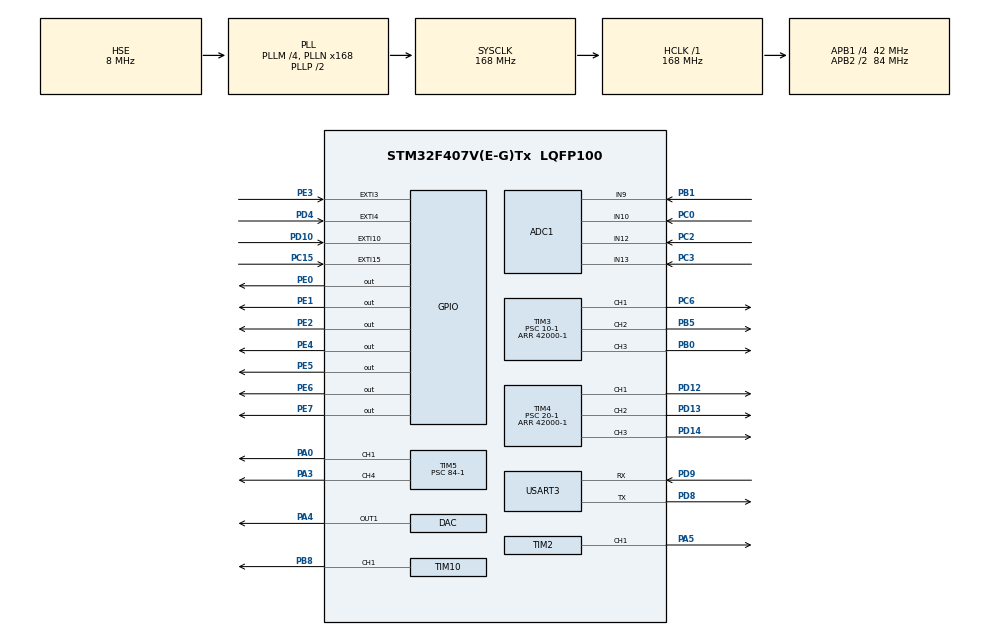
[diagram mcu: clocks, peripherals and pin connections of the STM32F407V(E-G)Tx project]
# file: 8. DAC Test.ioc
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ADC1.Channel-0\#ChannelRegularConversion=ADC_CHANNEL_10
ADC1.Channel-1\#ChannelRegularConversion=ADC_CHANNEL_12
ADC1.Channel-2\#ChannelRegularConversion=ADC_CHANNEL_13
ADC1.Channel-3\#ChannelRegularConversion=ADC_CHANNEL_9
ADC1.ContinuousConvMode=ENABLE
ADC1.DMAContinuousRequests=ENABLE
ADC1.NbrOfConversion=4
ADC1.NbrOfConversionFlag=1
ADC1.Rank-0\#ChannelRegularConversion=1
ADC1.Rank-1\#ChannelRegularConversion=2
ADC1.Rank-2\#ChannelRegularConversion=3
ADC1.Rank-3\#ChannelRegularConversion=4
ADC1.SamplingTime-0\#ChannelRegularConversion=ADC_SAMPLETIME_84CYCLES
ADC1.SamplingTime-1\#ChannelRegularConversion=ADC_SAMPLETIME_84CYCLES
ADC1.SamplingTime-2\#ChannelRegularConversion=ADC_SAMPLETIME_84CYCLES
ADC1.SamplingTime-3\#ChannelRegularConversion=ADC_SAMPLETIME_84CYCLES
ADC1.ScanConvMode=ENABLE
ADC1.master=1
Dma.ADC1.0.Direction=DMA_PERIPH_TO_MEMORY
Dma.ADC1.0.FIFOMode=DMA_FIFOMODE_DISABLE
Dma.ADC1.0.Instance=DMA2_Stream0
Dma.ADC1.0.MemDataAlignment=DMA_MDATAALIGN_HALFWORD
Dma.ADC1.0.MemInc=DMA_MINC_ENABLE
Dma.ADC1.0.Mode=DMA_CIRCULAR
Dma.ADC1.0.PeriphDataAlignment=DMA_PDATAALIGN_HALFWORD
Dma.ADC1.0.PeriphInc=DMA_PINC_DISABLE
Dma.ADC1.0.Priority=DMA_PRIORITY_LOW
Dma.Request0=ADC1
Mcu.Family=STM32F4
Mcu.Name=STM32F407V(E-G)Tx
Mcu.Package=LQFP100
NVIC.DMA2_Stream0_IRQn=true\:0\:0\:false\:false\:true\:false
NVIC.EXTI15_10_IRQn=true\:0\:0\:false\:true\:true\:5\:true
NVIC.EXTI3_IRQn=true\:0\:0\:false\:true\:true\:3\:true
NVIC.EXTI4_IRQn=true\:0\:0\:false\:true\:true\:4\:true
NVIC.PriorityGroup=NVIC_PRIORITYGROUP_4
NVIC.TIM7_IRQn=true\:0\:0\:false\:true\:true\:2\:true
NVIC.USART3_IRQn=true\:0\:0\:false\:true\:true\:1\:true
PA0-WKUP.Signal=S_TIM5_CH1
PA3.Signal=S_TIM5_CH4
PA4.Signal=COMP_DAC1_group
PA5.Signal=S_TIM2_CH1_ETR
PB0.Signal=S_TIM3_CH3
PB1.Signal=ADCx_IN9
PB5.Signal=S_TIM3_CH2
PB8.Signal=S_TIM10_CH1
PC0.Signal=ADCx_IN10
PC15-OSC32_OUT.GPIO_ModeDefaultEXTI=GPIO_MODE_IT_RISING
PC15-OSC32_OUT.Signal=GPXTI15
PC2.Signal=ADCx_IN12
PC3.Signal=ADCx_IN13
PC6.Signal=S_TIM3_CH1
PD10.Signal=GPXTI10
PD12.Signal=S_TIM4_CH1
PD13.Signal=S_TIM4_CH2
PD14.Signal=S_TIM4_CH3
PD4.Signal=GPXTI4
PD8.Mode=Asynchronous
PD8.Signal=USART3_TX
PD9.Mode=Asynchronous
PD9.Signal=USART3_RX
PE0.Signal=GPIO_Output
PE1.Signal=GPIO_Output
PE2.Signal=GPIO_Output
PE3.Signal=GPXTI3
PE4.Signal=GPIO_Output
PE5.Signal=GPIO_Output
PE6.Signal=GPIO_Output
PE7.Signal=GPIO_Output
PH0-OSC_IN.Mode=HSE-External-Oscillator
PH0-OSC_IN.Signal=RCC_OSC_IN
PH1-OSC_OUT.Mode=HSE-External-Oscillator
PH1-OSC_OUT.Signal=RCC_OSC_OUT
ProjectManager.HeapSize=0x200
ProjectManager.StackSize=0x400
ProjectManager.TargetToolchain=TrueSTUDIO
RCC.48MHZClocksFreq_Value=84000000
RCC.AHBFreq_Value=168000000
RCC.APB1CLKDivider=RCC_HCLK_DIV4
RCC.APB1Freq_Value=42000000
RCC.APB1TimFreq_Value=84000000
RCC.APB2CLKDivider=RCC_HCLK_DIV2
RCC.APB2Freq_Value=84000000
RCC.APB2TimFreq_Value=168000000
RCC.CortexFreq_Value=168000000
RCC.HCLKFreq_Value=168000000
RCC.HSE_VALUE=8000000
RCC.HSI_VALUE=16000000
RCC.LSE_VALUE=32768
RCC.PLLM=4
RCC.PLLN=168
RCC.PLLSourceVirtual=RCC_PLLSOURCE_HSE
RCC.SYSCLKFreq_VALUE=168000000
RCC.SYSCLKSource=RCC_SYSCLKSOURCE_PLLCLK
RCC.VCOOutputFreq_Value=336000000
SH.ADCx_IN10.0=ADC1_IN10,IN10
SH.ADCx_IN12.0=ADC1_IN12,IN12
SH.ADCx_IN13.0=ADC1_IN13,IN13
SH.ADCx_IN9.0=ADC1_IN9,IN9
SH.COMP_DAC1_group.0=DAC_OUT1,DAC_OUT1
SH.S_TIM10_CH1.0=TIM10_CH1,PWM Generation1 CH1
SH.S_TIM2_CH1_ETR.0=TIM2_CH1,PWM Generation1 CH1
SH.S_TIM3_CH1.0=TIM3_CH1,PWM Generation1 CH1
SH.S_TIM3_CH2.0=TIM3_CH2,PWM Generation2 CH2
SH.S_TIM3_CH3.0=TIM3_CH3,PWM Generation3 CH3
SH.S_TIM4_CH1.0=TIM4_CH1,PWM Generation1 CH1
SH.S_TIM4_CH2.0=TIM4_CH2,PWM Generation2 CH2
SH.S_TIM4_CH3.0=TIM4_CH3,PWM Generation3 CH3
SH.S_TIM5_CH1.0=TIM5_CH1,PWM Generation1 CH1
SH.S_TIM5_CH4.0=TIM5_CH4,PWM Generation4 CH4
TIM10.Channel=TIM_CHANNEL_1
TIM10.Period=10000-1
TIM10.Prescaler=336-1
TIM10.Pulse=100
TIM2.Channel-PWM\ Generation1\ CH1=TIM_CHANNEL_1
TIM2.Period=168-1
TIM2.Prescaler=1000-1
TIM2.Pulse-PWM\ Generation1\ CH1=84
TIM3.Channel-PWM\ Generation1\ CH1=TIM_CHANNEL_1
TIM3.Channel-PWM\ Generation2\ CH2=TIM_CHANNEL_2
TIM3.Channel-PWM\ Generation3\ CH3=TIM_CHANNEL_3
TIM3.Period=42000-1
TIM3.Prescaler=10-1
TIM3.Pulse-PWM\ Generation1\ CH1=21000-1
TIM3.Pulse-PWM\ Generation2\ CH2=10500-1
TIM3.Pulse-PWM\ Generation3\ CH3=5250-1
TIM4.Channel-PWM\ Generation1\ CH1=TIM_CHANNEL_1
TIM4.Channel-PWM\ Generation2\ CH2=TIM_CHANNEL_2
TIM4.Channel-PWM\ Generation3\ CH3=TIM_CHANNEL_3
TIM4.Period=42000-1
TIM4.Prescaler=20-1
TIM4.Pulse-PWM\ Generation1\ CH1=21000-1
TIM4.Pulse-PWM\ Generation2\ CH2=10500-1
TIM4.Pulse-PWM\ Generation3\ CH3=5250-1
TIM5.Channel-PWM\ Generation1\ CH1=TIM_CHANNEL_1
TIM5.Channel-PWM\ Generation4\ CH4=TIM_CHANNEL_4
TIM5.Period=10000-1
TIM5.Prescaler=84-1
TIM5.Pulse-PWM\ Generation1\ CH1=5000
TIM7.Period=8399
TIM7.Prescaler=9999
USART3.VirtualMode=VM_ASYNC
VP_TIM10_VS_ClockSourceINT.Mode=Enable_Timer
VP_TIM2_VS_ClockSourceINT.Mode=Internal
VP_TIM3_VS_ClockSourceINT.Mode=Internal
VP_TIM4_VS_ClockSourceINT.Mode=Internal
VP_TIM5_VS_ClockSourceINT.Mode=Internal
VP_TIM7_VS_ClockSourceINT.Mode=Enable_Timer
board=custom

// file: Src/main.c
/**
  ******************************************************************************
  * @file           : main.c
  * @brief          : Main program body
  ******************************************************************************
  ** This notice applies to any and all portions of this file
  * that are not between comment pairs USER CODE BEGIN and
  * USER CODE END. Other portions of this file, whether
  * inserted by the user or by software development tools
  * are owned by their respective copyright owners.
  *
  * COPYRIGHT(c) 2018 STMicroelectronics
  *
  * Redistribution and use in source and binary forms, with or without modification,
  * are permitted provided that the following conditions are met:
  *   1. Redistributions of source code must retain the above copyright notice,
  *      this list of conditions and the following disclaimer.
  *   2. Redistributions in binary form must reproduce the above copyright notice,
  *      this list of conditions and the following disclaimer in the documentation
  *      and/or other materials provided with the distribution.
  *   3. Neither the name of STMicroelectronics nor the names of its contributors
  *      may be used to endorse or promote products derived from this software
  *      without specific prior written permission.
  *
  * THIS SOFTWARE IS PROVIDED BY THE COPYRIGHT HOLDERS AND CONTRIBUTORS "AS IS"
  * AND ANY EXPRESS OR IMPLIED WARRANTIES, INCLUDING, BUT NOT LIMITED TO, THE
  * IMPLIED WARRANTIES OF MERCHANTABILITY AND FITNESS FOR A PARTICULAR PURPOSE ARE
  * DISCLAIMED. IN NO EVENT SHALL THE COPYRIGHT HOLDER OR CONTRIBUTORS BE LIABLE
  * FOR ANY DIRECT, INDIRECT, INCIDENTAL, SPECIAL, EXEMPLARY, OR CONSEQUENTIAL
  * DAMAGES (INCLUDING, BUT NOT LIMITED TO, PROCUREMENT OF SUBSTITUTE GOODS OR
  * SERVICES; LOSS OF USE, DATA, OR PROFITS; OR BUSINESS INTERRUPTION) HOWEVER
  * CAUSED AND ON ANY THEORY OF LIABILITY, WHETHER IN CONTRACT, STRICT LIABILITY,
  * OR TORT (INCLUDING NEGLIGENCE OR OTHERWISE) ARISING IN ANY WAY OUT OF THE USE
  * OF THIS SOFTWARE, EVEN IF ADVISED OF THE POSSIBILITY OF SUCH DAMAGE.
  *
  ******************************************************************************
  */
#include "main.h"
#include "stm32f4xx_hal.h"
#include "adc.h"
#include "dac.h"
#include "dma.h"
#include "tim.h"
#include "usart.h"
#include "gpio.h"

/* USER CODE BEGIN Includes */
#include "CLCD.h"
#include <stdio.h>
#include "7SEG.h"
#include <math.h>
/* USER CODE END Includes */

/* USER CODE BEGIN PV */
/* Private variables ---------------------------------------------------------*/
uint8_t rx3_data;
/* USER CODE END PV */

void SystemClock_Config(void);
static void MX_NVIC_Init(void);

/* USER CODE BEGIN PFP */
/* Private function prototypes -----------------------------------------------*/
int _write(int file, char* p, int len)
{
	HAL_UART_Transmit(&huart3, p, len, 10);
	return len;
}
/* USER CODE END PFP */

int main(void)
{
  /* USER CODE BEGIN 1 */
	volatile uint16_t adcval[4];
  /* USER CODE END 1 */

  /* MCU Configuration----------------------------------------------------------*/

  /* Reset of all peripherals, Initializes the Flash interface and the Systick. */
  HAL_Init();

  /* Configure the system clock */
  SystemClock_Config();

  /* Initialize all configured peripherals */
  MX_GPIO_Init();
  MX_DMA_Init();
  MX_USART3_UART_Init();
  MX_TIM7_Init();
  MX_TIM3_Init();
  MX_TIM4_Init();
  MX_TIM10_Init();
  MX_TIM2_Init();
  MX_TIM5_Init();
  MX_ADC1_Init();
  MX_DAC_Init();

  /* Initialize interrupts */
  MX_NVIC_Init();
  /* USER CODE BEGIN 2 */
	HAL_GPIO_WritePin(GPIOC, GPIO_PIN_6, GPIO_PIN_SET);
	HAL_GPIO_WritePin(GPIOB, GPIO_PIN_0, GPIO_PIN_SET);
	HAL_GPIO_WritePin(GPIOB, GPIO_PIN_5, GPIO_PIN_SET);

	HAL_GPIO_WritePin(GPIOD, GPIO_PIN_12, GPIO_PIN_SET);
	HAL_GPIO_WritePin(GPIOD, GPIO_PIN_13, GPIO_PIN_SET);
	HAL_GPIO_WritePin(GPIOD, GPIO_PIN_14, GPIO_PIN_SET);

	HAL_UART_Receive_IT(&huart3, &rx3_data, 1);
	HAL_TIM_Base_Start_IT(&htim7);

	CLCD_GPIO_Init();
	CLCD_Init();
	CLCD_Puts(0, 0, "Welcome to");
	CLCD_Puts(0, 1, "M-HIVE");
	CLCD_Clear();

	_7SEG_GPIO_Init();

	HAL_TIM_PWM_Start(&htim3, TIM_CHANNEL_1);
	HAL_TIM_PWM_Start(&htim3, TIM_CHANNEL_2);
	HAL_TIM_PWM_Start(&htim3, TIM_CHANNEL_3);

	HAL_TIM_PWM_Start(&htim4, TIM_CHANNEL_1);
	HAL_TIM_PWM_Start(&htim4, TIM_CHANNEL_2);
	HAL_TIM_PWM_Start(&htim4, TIM_CHANNEL_3);

	HAL_TIM_PWM_Start(&htim10, TIM_CHANNEL_1);

	//HAL_TIM_PWM_Start(&htim2, TIM_CHANNEL_1);

	HAL_TIM_PWM_Start(&htim5, TIM_CHANNEL_1);
	HAL_TIM_PWM_Start(&htim5, TIM_CHANNEL_4);

	HAL_ADC_Start_DMA(&hadc1, &adcval[0], 4);
	HAL_DAC_Start(&hdac, DAC_CHANNEL_1);

	TIM10->CCR1 = 1500;

	TIM5->CCR1 = 0;
	TIM5->CCR4 = 5000;
  /* USER CODE END 2 */

  /* Infinite loop */
  /* USER CODE BEGIN WHILE */
	uint8_t a = 0;
	float f = 1.234;
	uint8_t str[20];
	uint16_t ccr = 0;
	uint16_t psc = 1000;
	uint8_t ud_flag = 0;
	uint16_t dacval = 0;
  while (1)
  {

  /* USER CODE END WHILE */

  }

}

void SystemClock_Config(void)
{

  RCC_OscInitTypeDef RCC_OscInitStruct;
  RCC_ClkInitTypeDef RCC_ClkInitStruct;

    /**Configure the main internal regulator output voltage
    */
  __HAL_RCC_PWR_CLK_ENABLE();

  __HAL_PWR_VOLTAGESCALING_CONFIG(PWR_REGULATOR_VOLTAGE_SCALE1);

    /**Initializes the CPU, AHB and APB busses clocks
    */
  RCC_OscInitStruct.OscillatorType = RCC_OSCILLATORTYPE_HSE;
  RCC_OscInitStruct.HSEState = RCC_HSE_ON;
  RCC_OscInitStruct.PLL.PLLState = RCC_PLL_ON;
  RCC_OscInitStruct.PLL.PLLSource = RCC_PLLSOURCE_HSE;
  RCC_OscInitStruct.PLL.PLLM = 4;
  RCC_OscInitStruct.PLL.PLLN = 168;
  RCC_OscInitStruct.PLL.PLLP = RCC_PLLP_DIV2;
  RCC_OscInitStruct.PLL.PLLQ = 4;
  if (HAL_RCC_OscConfig(&RCC_OscInitStruct) != HAL_OK)
  {
    _Error_Handler(__FILE__, __LINE__);
  }

    /**Initializes the CPU, AHB and APB busses clocks
    */
  RCC_ClkInitStruct.ClockType = RCC_CLOCKTYPE_HCLK|RCC_CLOCKTYPE_SYSCLK
                              |RCC_CLOCKTYPE_PCLK1|RCC_CLOCKTYPE_PCLK2;
  RCC_ClkInitStruct.SYSCLKSource = RCC_SYSCLKSOURCE_PLLCLK;
  RCC_ClkInitStruct.AHBCLKDivider = RCC_SYSCLK_DIV1;
  RCC_ClkInitStruct.APB1CLKDivider = RCC_HCLK_DIV4;
  RCC_ClkInitStruct.APB2CLKDivider = RCC_HCLK_DIV2;

  if (HAL_RCC_ClockConfig(&RCC_ClkInitStruct, FLASH_LATENCY_5) != HAL_OK)
  {
    _Error_Handler(__FILE__, __LINE__);
  }

    /**Configure the Systick interrupt time
    */
  HAL_SYSTICK_Config(HAL_RCC_GetHCLKFreq()/1000);

    /**Configure the Systick
    */
  HAL_SYSTICK_CLKSourceConfig(SYSTICK_CLKSOURCE_HCLK);

  /* SysTick_IRQn interrupt configuration */
  HAL_NVIC_SetPriority(SysTick_IRQn, 0, 0);
}

/**
  * @brief NVIC Configuration.
  * @retval None
  */
static void MX_NVIC_Init(void)
{
  /* USART3_IRQn interrupt configuration */
  HAL_NVIC_SetPriority(USART3_IRQn, 0, 0);
  HAL_NVIC_EnableIRQ(USART3_IRQn);
  /* TIM7_IRQn interrupt configuration */
  HAL_NVIC_SetPriority(TIM7_IRQn, 0, 0);
  HAL_NVIC_EnableIRQ(TIM7_IRQn);
  /* EXTI3_IRQn interrupt configuration */
  HAL_NVIC_SetPriority(EXTI3_IRQn, 0, 0);
  HAL_NVIC_EnableIRQ(EXTI3_IRQn);
  /* EXTI4_IRQn interrupt configuration */
  HAL_NVIC_SetPriority(EXTI4_IRQn, 0, 0);
  HAL_NVIC_EnableIRQ(EXTI4_IRQn);
  /* EXTI15_10_IRQn interrupt configuration */
  HAL_NVIC_SetPriority(EXTI15_10_IRQn, 0, 0);
  HAL_NVIC_EnableIRQ(EXTI15_10_IRQn);
}

/* USER CODE BEGIN 4 */
void HAL_UART_RxCpltCallback(UART_HandleTypeDef *huart)
{
	if(huart->Instance == USART3)
	{
		HAL_UART_Receive_IT(&huart3, &rx3_data, 1);
		HAL_UART_Transmit(&huart3, &rx3_data, 1, 10);
	}
}

void HAL_TIM_PeriodElapsedCallback(TIM_HandleTypeDef *htim)
{
	static unsigned short cnt = 0;
	if(htim->Instance == TIM7)
	{
		HAL_DAC_SetValue(&hdac, DAC_CHANNEL_1, DAC_ALIGN_12B_R, (sinf(2 * 3.1415926535f * 100 * cnt / 1000.f) + 1) * 2047);
		cnt++;
		if(cnt > 999) cnt = 0;
	}
}

void HAL_GPIO_EXTI_Callback(uint16_t GPIO_Pin)
{
	if(GPIO_Pin == GPIO_PIN_3)
	{
		HAL_GPIO_TogglePin(GPIOD, GPIO_PIN_12);
	}

	if(GPIO_Pin == GPIO_PIN_15)
	{
		HAL_GPIO_TogglePin(GPIOD, GPIO_PIN_13);
	}

	if(GPIO_Pin == GPIO_PIN_4)
	{
		HAL_GPIO_TogglePin(GPIOD, GPIO_PIN_14);
	}

	if(GPIO_Pin == GPIO_PIN_10)
	{
		HAL_GPIO_TogglePin(GPIOB, GPIO_PIN_0);
	}
}
/* USER CODE END 4 */

void _Error_Handler(char *file, int line)
{
  while(1)
  {
  }
}

/************************ (C) COPYRIGHT STMicroelectronics *****END OF FILE****/
